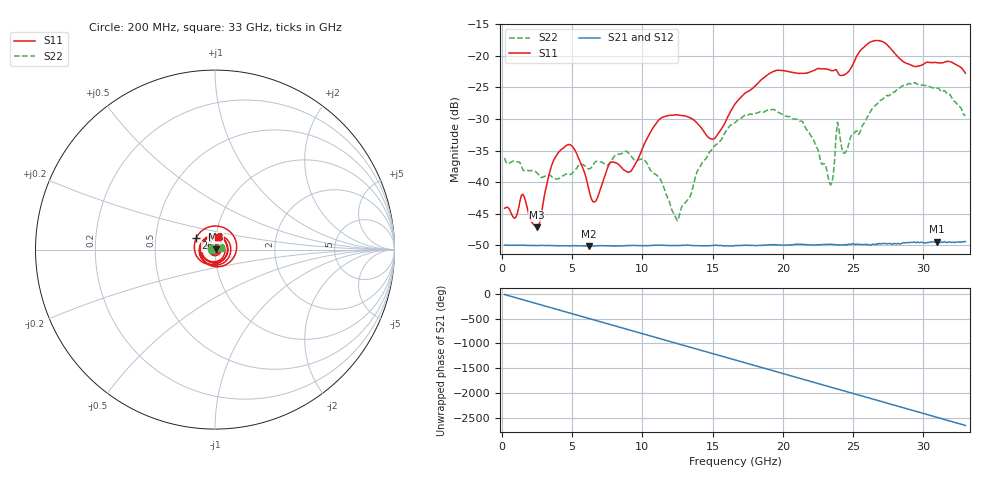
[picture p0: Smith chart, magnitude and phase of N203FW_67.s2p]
# GHZ S RI R 50
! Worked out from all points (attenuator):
!   329 points, 200 MHz to 33 GHz, reference 50 ohm
!   highest |S21| = -49.39 dB at 31 GHz (marker M1); lowest = -50.1 dB at 6.2 GHz (marker M2)
!   lowest |S11| = -47.1 dB at 2.5 GHz (marker M3), VSWR 1.01, Z = 50.4 + j0.257 ohm
!   |S11| at or under -10 dB: start of sweep to end of sweep
!   |S22| runs from -46.1 to -24.2 dB; largest |S21 - S12| = 8.8e-05
!   S11 on the Smith chart (normalised r, x): 200 MHz: 1.01, +0.01; 26 GHz: 0.80, +0.10; 33 GHz: 1.03, +0.14
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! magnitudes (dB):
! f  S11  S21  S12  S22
! 200 MHz  -44.1  -50.0  -49.9  -36.2
! 1.5 GHz  -41.9  -50.0  -50.0  -38.1
! 2.5 GHz  -47.1  -50.0  -50.0  -38.5
! 4 GHz  -35.4  -50.1  -50.1  -39.5
! 5.7 GHz  -37.4  -50.1  -50.1  -37.2
! 6.2 GHz  -41.3  -50.1  -50.1  -37.9
! 6.7 GHz  -42.9  -50.1  -50.1  -36.7
! 7.8 GHz  -36.8  -50.1  -50.1  -36.5
! 9.2 GHz  -38.2  -50.0  -50.0  -35.9
! 11.2 GHz  -30.1  -50.0  -50.0  -39.3
! 12.5 GHz  -29.3  -50.0  -50.0  -46.1
! 15 GHz  -33.2  -50.0  -50.0  -34.7
! 16.6 GHz  -27.7  -50.0  -50.0  -30.6
! 19.3 GHz  -22.5  -49.9  -49.9  -28.5
! 22.1 GHz  -22.4  -49.9  -49.9  -32.9
! 23.4 GHz  -22.3  -49.8  -49.8  -40.5
! 23.9 GHz  -22.6  -49.9  -49.9  -30.5
! 24.4 GHz  -23.0  -50.0  -49.9  -35.4
! 26 GHz  -18.2  -49.9  -49.8  -29.8
! 27.6 GHz  -18.7  -49.7  -49.7  -26.3
! 31 GHz  -21.1  -49.4  -49.4  -25.1
! 33 GHz  -22.8  -49.4  -49.4  -29.5
